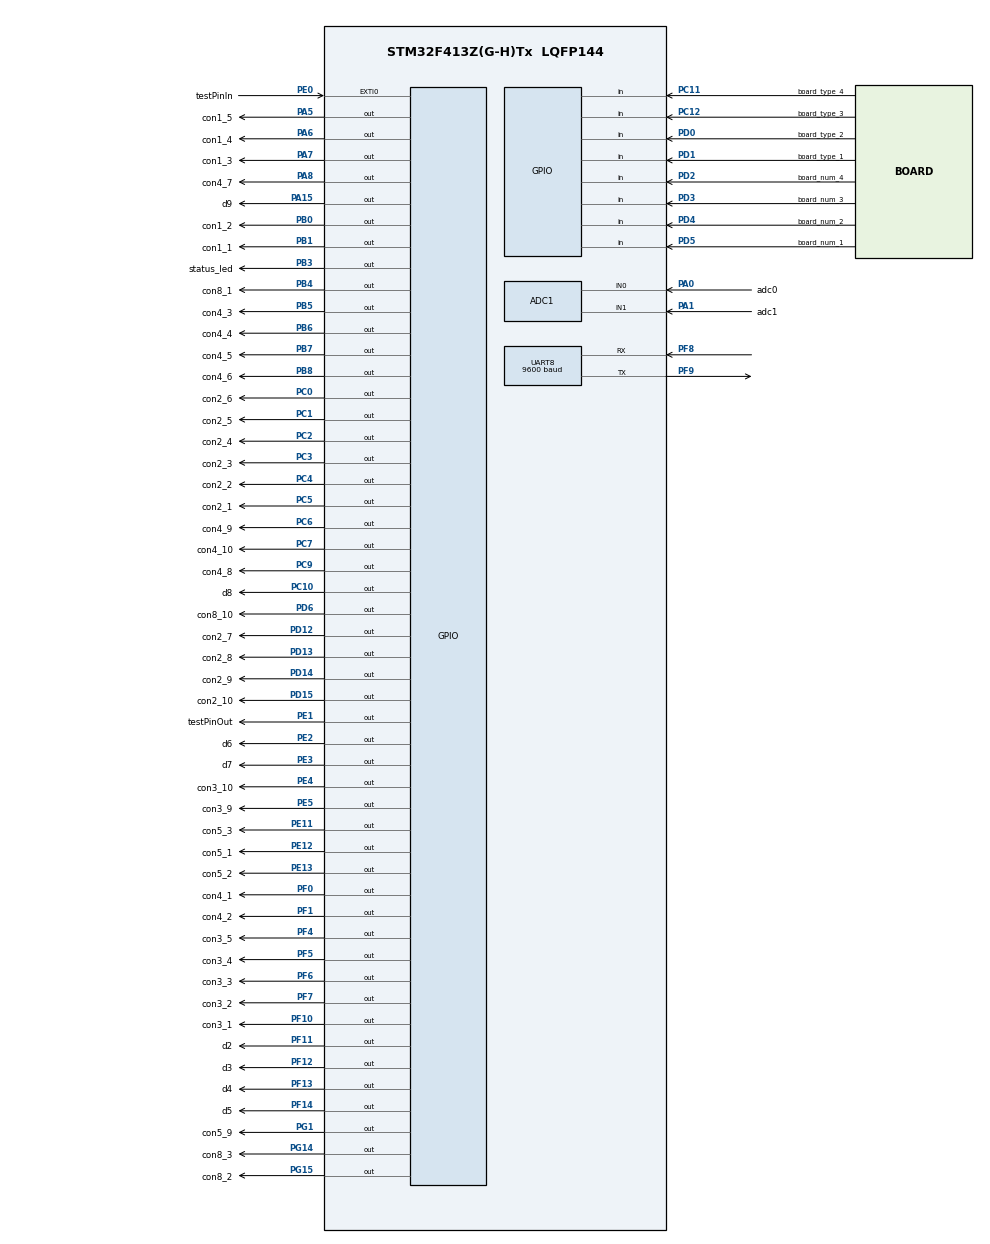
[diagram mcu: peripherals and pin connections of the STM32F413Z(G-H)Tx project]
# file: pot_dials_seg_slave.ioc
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ADC1.Channel-0\#ChannelRegularConversion=ADC_CHANNEL_0
ADC1.Channel-16\#ChannelRegularConversion=ADC_CHANNEL_1
ADC1.ClockPrescaler=ADC_CLOCK_SYNC_PCLK_DIV4
ADC1.ContinuousConvMode=ENABLE
ADC1.DMAContinuousRequests=ENABLE
ADC1.NbrOfConversion=2
ADC1.NbrOfConversionFlag=1
ADC1.Rank-0\#ChannelRegularConversion=1
ADC1.Rank-16\#ChannelRegularConversion=2
ADC1.SamplingTime-0\#ChannelRegularConversion=ADC_SAMPLETIME_480CYCLES
ADC1.SamplingTime-16\#ChannelRegularConversion=ADC_SAMPLETIME_480CYCLES
ADC1.master=1
Dma.ADC1.0.Direction=DMA_PERIPH_TO_MEMORY
Dma.ADC1.0.FIFOMode=DMA_FIFOMODE_DISABLE
Dma.ADC1.0.Instance=DMA2_Stream0
Dma.ADC1.0.MemDataAlignment=DMA_MDATAALIGN_HALFWORD
Dma.ADC1.0.MemInc=DMA_MINC_ENABLE
Dma.ADC1.0.Mode=DMA_CIRCULAR
Dma.ADC1.0.PeriphDataAlignment=DMA_PDATAALIGN_HALFWORD
Dma.ADC1.0.PeriphInc=DMA_PINC_DISABLE
Dma.ADC1.0.Priority=DMA_PRIORITY_LOW
Dma.Request0=ADC1
Mcu.Family=STM32F4
Mcu.Name=STM32F413Z(G-H)Tx
Mcu.Package=LQFP144
NVIC.DMA2_Stream0_IRQn=true\:0\:0\:false\:false\:true\:false\:true
NVIC.EXTI0_IRQn=true\:0\:0\:false\:false\:true\:true\:true
NVIC.PriorityGroup=NVIC_PRIORITYGROUP_4
NVIC.UART8_IRQn=true\:0\:0\:false\:false\:true\:true\:true
PA0.GPIO_Label=adc0
PA0.GPIO_Mode=GPIO_MODE_ANALOG
PA0.GPIO_PuPd=GPIO_NOPULL
PA0.Signal=ADCx_IN0
PA1.GPIO_Label=adc1
PA1.Signal=ADCx_IN1
PA13.Mode=Serial_Wire
PA13.Signal=SYS_JTMS-SWDIO
PA14.Mode=Serial_Wire
PA14.Signal=SYS_JTCK-SWCLK
PA15.GPIO_Label=d9
PA15.Signal=GPIO_Output
PA2.GPIO_Label=adc2
PA2.Signal=ADCx_IN2
PA3.GPIO_Label=adc3
PA3.Signal=ADCx_IN3
PA4.GPIO_Label=adc4
PA4.Signal=ADCx_IN4
PA5.GPIO_Label=con1_5
PA5.Signal=GPIO_Output
PA6.GPIO_Label=con1_4
PA6.Signal=GPIO_Output
PA7.GPIO_Label=con1_3
PA7.Signal=GPIO_Output
PA8.GPIO_Label=con4_7
PA8.Signal=GPIO_Output
PB0.GPIO_Label=con1_2
PB0.Signal=GPIO_Output
PB1.GPIO_Label=con1_1
PB1.Signal=GPIO_Output
PB3.GPIO_Label=status_led
PB3.Signal=GPIO_Output
PB4.GPIO_Label=con8_1
PB4.Signal=GPIO_Output
PB5.GPIO_Label=con4_3
PB5.Signal=GPIO_Output
PB6.GPIO_Label=con4_4
PB6.Signal=GPIO_Output
PB7.GPIO_Label=con4_5
PB7.Signal=GPIO_Output
PB8.GPIO_Label=con4_6
PB8.Signal=GPIO_Output
PC0.GPIO_Label=con2_6
PC0.GPIO_PuPd=GPIO_PULLUP
PC0.Signal=GPIO_Output
PC1.GPIO_Label=con2_5
PC1.GPIO_PuPd=GPIO_PULLUP
PC1.Signal=GPIO_Output
PC10.GPIO_Label=d8
PC10.Signal=GPIO_Output
PC11.GPIO_Label=board_type_4
PC11.Signal=GPIO_Input
PC12.GPIO_Label=board_type_3
PC12.Signal=GPIO_Input
PC14-OSC32_IN.Mode=LSE-External-Oscillator
PC14-OSC32_IN.Signal=RCC_OSC32_IN
PC15-OSC32_OUT.Mode=LSE-External-Oscillator
PC15-OSC32_OUT.Signal=RCC_OSC32_OUT
PC2.GPIO_Label=con2_4
PC2.GPIO_PuPd=GPIO_PULLUP
PC2.Signal=GPIO_Output
PC3.GPIO_Label=con2_3
PC3.GPIO_PuPd=GPIO_PULLUP
PC3.Signal=GPIO_Output
PC4.GPIO_Label=con2_2
PC4.GPIO_PuPd=GPIO_PULLUP
PC4.Signal=GPIO_Output
PC5.GPIO_Label=con2_1
PC5.GPIO_PuPd=GPIO_PULLUP
PC5.Signal=GPIO_Output
PC6.GPIO_Label=con4_9
PC6.Signal=GPIO_Output
PC7.GPIO_Label=con4_10
PC7.Signal=GPIO_Output
PC9.GPIO_Label=con4_8
PC9.Signal=GPIO_Output
PD0.GPIO_Label=board_type_2
PD0.Signal=GPIO_Input
PD1.GPIO_Label=board_type_1
PD1.Signal=GPIO_Input
PD12.GPIO_Label=con2_7
PD12.GPIO_PuPd=GPIO_PULLUP
PD12.Signal=GPIO_Output
PD13.GPIO_Label=con2_8
PD13.GPIO_PuPd=GPIO_PULLUP
PD13.GPIO_Speed=GPIO_SPEED_FREQ_LOW
PD13.Signal=GPIO_Output
PD14.GPIO_Label=con2_9
PD14.Signal=GPIO_Output
PD15.GPIO_Label=con2_10
PD15.Signal=GPIO_Output
PD2.GPIO_Label=board_num_4
PD2.Signal=GPIO_Input
PD3.GPIO_Label=board_num_3
PD3.Signal=GPIO_Input
PD4.GPIO_Label=board_num_2
PD4.Signal=GPIO_Input
PD5.GPIO_Label=board_num_1
PD5.Signal=GPIO_Input
PD6.GPIO_Label=con8_10
PD6.Signal=GPIO_Output
PE0.GPIO_Label=testPinIn
PE0.Signal=GPXTI0
PE1.GPIO_Label=testPinOut
PE1.Signal=GPIO_Output
PE11.GPIO_Label=con5_3
PE11.Signal=GPIO_Output
PE12.GPIO_Label=con5_1
PE12.Signal=GPIO_Output
PE13.GPIO_Label=con5_2
PE13.PinState=GPIO_PIN_RESET
PE13.Signal=GPIO_Output
PE2.GPIO_Label=d6
PE2.Signal=GPIO_Output
PE3.GPIO_Label=d7
PE3.Signal=GPIO_Output
PE4.GPIO_Label=con3_10
PE4.Signal=GPIO_Output
PE5.GPIO_Label=con3_9
PE5.Signal=GPIO_Output
PF0.GPIO_Label=con4_1
PF0.Signal=GPIO_Output
PF1.GPIO_Label=con4_2
PF1.Signal=GPIO_Output
PF10.GPIO_Label=con3_1
PF10.Signal=GPIO_Output
PF11.GPIO_Label=d2
PF11.Signal=GPIO_Output
PF12.GPIO_Label=d3
PF12.Signal=GPIO_Output
PF13.GPIO_Label=d4
PF13.Signal=GPIO_Output
PF14.GPIO_Label=d5
PF14.Signal=GPIO_Output
PF4.GPIO_Label=con3_5
PF4.Signal=GPIO_Output
PF5.GPIO_Label=con3_4
PF5.Signal=GPIO_Output
PF6.GPIO_Label=con3_3
PF6.Signal=GPIO_Output
PF7.GPIO_Label=con3_2
PF7.Signal=GPIO_Output
PF8.Mode=Asynchronous
PF8.Signal=UART8_RX
PF9.Mode=Asynchronous
PF9.Signal=UART8_TX
PG1.GPIO_Label=con5_9
PG1.Signal=GPIO_Output
PG14.GPIO_Label=con8_3
PG14.Signal=GPIO_Output
PG15.GPIO_Label=con8_2
PG15.Signal=GPIO_Output
ProjectManager.HeapSize=0x200
ProjectManager.StackSize=0x400
ProjectManager.TargetToolchain=STM32CubeIDE
RCC.CortexFreq_Value=16000000
RCC.USBFreq_Value=96000000
RCC.VCOOutputFreq_Value=192000000
SH.ADCx_IN0.0=ADC1_IN0,IN0
SH.ADCx_IN1.0=ADC1_IN1,IN1
SH.ADCx_IN2.0=ADC1_IN2
SH.ADCx_IN3.0=ADC1_IN3
SH.ADCx_IN4.0=ADC1_IN4
UART8.BaudRate=9600
UART8.VirtualMode=Asynchronous
board=custom

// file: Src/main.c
/* USER CODE BEGIN Header */

/*
 * OTHER SLAVE:
 *  - POTENTIOMETERS
 *  - DIALS
 *  - SEVEN SEGS
 */

/* USER CODE END Header */

#include "main.h"

/* USER CODE BEGIN Includes */

#include <stdlib.h>
#include <stdio.h>
#include <string.h>

#include "PIN_DEFS.h"
#include "STRUCTS.h"

/* USER CODE END Includes */

/* USER CODE BEGIN PD */

//Timing magic numbers
#define MAX_TICKER_VALUE 	4294967295
#define LED_SCALER 			10000

//Stepper motor step size
#define MAX_NUM_STEPS 		600

//Stepper motor directions
#define ANTICLOCKWISE 		0
#define CLOCKWISE 			1

// ADC buffer
#define ADC_BUFF_SIZE 		10

/* USER CODE END PD */

ADC_HandleTypeDef hadc1;
DMA_HandleTypeDef hdma_adc1;

UART_HandleTypeDef huart8;

void SystemClock_Config(void);
static void MX_GPIO_Init(void);
static void MX_DMA_Init(void);
static void MX_ADC1_Init(void);
static void MX_UART8_Init(void);

/* USER CODE BEGIN 0 */

// Received data from UART
union data_in recieved_data;

// Compiling data from dip switches
// into the data to send out
union board_info_data board_data;

// Data to send out on UART
data_packet info_out;

// Timing variables
uint8_t TEST_MODE = 0;
uint32_t ticker = 0;

// Dial 1 variables
uint32_t desiredDialState1 = 0;
uint32_t currentDialState1 = 0;
uint32_t tempDialState1 = 0;

// Dial 2 variables
uint32_t desiredDialState2 = 0;
uint32_t currentDialState2 = 0;

// Pot variables
uint32_t pot1Sum = 0;
uint8_t pot1BufferIndex = 0;
uint8_t pot1Buffer[ADC_BUFF_SIZE] = {0};
uint8_t pot1State = 0;

uint32_t pot2Sum = 0;
uint8_t pot2BufferIndex = 0;
uint8_t pot2Buffer[ADC_BUFF_SIZE] = {0};
uint8_t pot2State = 0;

// 7 Seg 1 variables
uint8_t desiredDispValue1 = 0;
uint8_t currentDispValue1 = 0;
uint8_t desiredDispValueDigits1[4] = {0};
uint8_t dispIndex1 = 0;
uint8_t tempDigits1[4] = {0};

// 7 Seg 2 variables
uint8_t desiredDispValue2 = 0;
uint32_t currentDispValue2 = 0;
uint8_t desiredDispValueDigits2[4] = {0};
uint8_t dispIndex2 = 0;
uint8_t tempDigits2[4] = {0};

// Latency testing
uint32_t start_time = 0;
uint32_t end_time = 0;
uint32_t total_time[30] = {0};
uint8_t timerIndex = 0;

// UART RX interrupt to update states
void HAL_UART_RxCpltCallback(UART_HandleTypeDef *huart)
{
	if(huart->Instance==UART8) {
		if (TEST_MODE)
		{
			HAL_GPIO_WritePin(GPIOE, testPinOut_Pin, GPIO_PIN_SET);
			end_time = HAL_GetTick();
			total_time[timerIndex] = end_time - start_time;
			timerIndex++;
			end_time = 0;
			start_time = 0;
			TEST_MODE = 0;
		}

		if (recieved_data.info_in.board_add == Display1HWAdd)
			desiredDispValue1 = recieved_data.info_in.state;

		if (recieved_data.info_in.board_add == Display2HWAdd)
			desiredDispValue2 = recieved_data.info_in.state;

		if (recieved_data.info_in.board_add == Dial1HWAdd)
			desiredDialState1 = 5.3 * recieved_data.info_in.state;

		if (recieved_data.info_in.board_add == Dial2HWAdd)
			desiredDialState2 = 5.3 * recieved_data.info_in.state;
	}

	else {
		__NOP();
	}
}
/* USER CODE END 0 */

int main(void)
{

  /* MCU Configuration--------------------------------------------------------*/

  /* Reset of all peripherals, Initializes the Flash interface and the Systick. */
  HAL_Init();

  /* Configure the system clock */
  SystemClock_Config();

  /* Initialize all configured peripherals */
  MX_GPIO_Init();
  MX_DMA_Init();
  MX_ADC1_Init();
  MX_UART8_Init();
  /* USER CODE BEGIN 2 */

  // DMA buffer
  HAL_ADC_Start_DMA(&hadc1, (uint32_t*)adcBuffer, 2);

  //con3: 3 - 3v3; 4 - dir; 5 - step

  // Set stepper motor power high
  HAL_GPIO_WritePin(GPIOF, con3_3_Pin, GPIO_PIN_SET);
  HAL_GPIO_WritePin(GPIOA, con1_3_Pin, GPIO_PIN_SET);

  // Calibrate the stepper motors
  for (int i = 0; i < MAX_NUM_STEPS; i++)
  {
		HAL_GPIO_WritePin(GPIOF, con3_4_Pin, ANTICLOCKWISE);
		HAL_GPIO_WritePin(GPIOA, con1_4_Pin, ANTICLOCKWISE);

		HAL_GPIO_WritePin(GPIOF, con3_5_Pin, GPIO_PIN_RESET);
		HAL_GPIO_WritePin(GPIOA, con1_5_Pin, GPIO_PIN_RESET);
		HAL_Delay(1);
		HAL_GPIO_WritePin(GPIOF, con3_5_Pin, GPIO_PIN_SET);
		HAL_GPIO_WritePin(GPIOA, con1_5_Pin, GPIO_PIN_SET);
		HAL_Delay(1);
  }

  for (int i = 0; i < 123; i++)
  {
		HAL_GPIO_WritePin(GPIOF, con3_4_Pin, CLOCKWISE);
		HAL_GPIO_WritePin(GPIOA, con1_4_Pin, CLOCKWISE);

		HAL_GPIO_WritePin(GPIOF, con3_5_Pin, GPIO_PIN_RESET);
		HAL_GPIO_WritePin(GPIOA, con1_5_Pin, GPIO_PIN_RESET);
		HAL_Delay(1);
		HAL_GPIO_WritePin(GPIOF, con3_5_Pin, GPIO_PIN_SET);
		HAL_GPIO_WritePin(GPIOA, con1_5_Pin, GPIO_PIN_SET);
		HAL_Delay(1);
  }

  currentDialState1 = 0;
  currentDialState2 = 0;

  // Pot  1buffer
  for (; pot1BufferIndex < ADC_BUFF_SIZE; pot1BufferIndex++)
  {
	  currentPotState = ((float) adcBuffer[0] / 4095) * 100;
	  pot1Buffer[pot1BufferIndex] = currentPotState;
	  pot1Sum += currentPotState;
  }
  pot1State = pot1Sum / ADC_BUFF_SIZE;

  // Pot 2 buffer
  for (; pot2BufferIndex < ADC_BUFF_SIZE; pot2BufferIndex++)
  {
	  currentPotState = ((float) adcBuffer[1] / 4095) * 100;
  	  pot2Buffer[pot2BufferIndex] = currentPotState;
  	  pot2Sum += currentPotState;
  }
  pot2State = pot2Sum / ADC_BUFF_SIZE;

  /* USER CODE END 2 */

  /* Infinite loop */
  /* USER CODE BEGIN WHILE */
  while (1)
  {

	  	  // TX UART interrupt to update the displays and dials
	  	  HAL_UART_Receive_IT(&huart8, recieved_data.info_in_buffer, 3);

	  	  // Assign the board information to the packet
	  	  board_data.board_info_raw.board_type_1 = HAL_GPIO_ReadPin(GPIOD, board_type_1_Pin) ? 0b1 : 0b0;
	  	  board_data.board_info_raw.board_type_2 = HAL_GPIO_ReadPin(GPIOD, board_type_2_Pin) ? 0b1 : 0b0;
	  	  board_data.board_info_raw.board_type_3 = HAL_GPIO_ReadPin(GPIOC, board_type_3_Pin) ? 0b1 : 0b0;
	  	  board_data.board_info_raw.board_type_4 = HAL_GPIO_ReadPin(GPIOC, board_type_4_Pin) ? 0b1 : 0b0;

	  	  board_data.board_info_raw.board_num_1 = HAL_GPIO_ReadPin(GPIOD, board_num_1_Pin) ? 0b1 : 0b0;
	  	  board_data.board_info_raw.board_num_2 = HAL_GPIO_ReadPin(GPIOD, board_num_2_Pin) ? 0b1 : 0b0;
	  	  board_data.board_info_raw.board_num_3 = HAL_GPIO_ReadPin(GPIOD, board_num_3_Pin) ? 0b1 : 0b0;
	  	  board_data.board_info_raw.board_num_4 = HAL_GPIO_ReadPin(GPIOD, board_num_4_Pin) ? 0b1 : 0b0;

	  	  info_out.board_info = board_data.board_info_char;

	  	  //Status LED
	  	  ticker++;
	  	  if (ticker % LED_SCALER == 0) HAL_GPIO_TogglePin(status_led_GPIO_Port, status_led_Pin);
	  	  if (ticker == MAX_TICKER_VALUE) ticker = 0;

	  	  //Dip switches linked to LEDs
	  	  //Board type
	  	  HAL_GPIO_ReadPin(GPIOD, board_type_1_Pin) ? HAL_GPIO_WritePin(GPIOE, d6_Pin, GPIO_PIN_SET) :
	  			  	  HAL_GPIO_WritePin(GPIOE, d6_Pin, GPIO_PIN_RESET);

	  	  HAL_GPIO_ReadPin(GPIOD, board_type_2_Pin) ? HAL_GPIO_WritePin(GPIOE, d7_Pin, GPIO_PIN_SET) :
	  		  	  HAL_GPIO_WritePin(GPIOE, d7_Pin, GPIO_PIN_RESET);

	  	  HAL_GPIO_ReadPin(GPIOC, board_type_3_Pin) ? HAL_GPIO_WritePin(GPIOA, d8_Pin, GPIO_PIN_SET) :
	  		  	  HAL_GPIO_WritePin(GPIOA, d8_Pin, GPIO_PIN_RESET);

	  	  HAL_GPIO_ReadPin(GPIOC, board_type_4_Pin) ? HAL_GPIO_WritePin(GPIOC, d9_Pin, GPIO_PIN_SET) :
	  		  	  HAL_GPIO_WritePin(GPIOC, d9_Pin, GPIO_PIN_RESET);

	  	  //Board number
	  	  HAL_GPIO_ReadPin(GPIOD, board_num_1_Pin) ? HAL_GPIO_WritePin(GPIOF, d5_Pin, GPIO_PIN_SET) :
	  		  	  HAL_GPIO_WritePin(GPIOF, d5_Pin, GPIO_PIN_RESET);

	  	  HAL_GPIO_ReadPin(GPIOD, board_num_2_Pin) ? HAL_GPIO_WritePin(GPIOF, d4_Pin, GPIO_PIN_SET) :
	  		  	  HAL_GPIO_WritePin(GPIOF, d4_Pin, GPIO_PIN_RESET);

	  	  HAL_GPIO_ReadPin(GPIOD, board_num_3_Pin) ? HAL_GPIO_WritePin(GPIOF, d3_Pin, GPIO_PIN_SET) :
	  		  	  HAL_GPIO_WritePin(GPIOF, d3_Pin, GPIO_PIN_RESET);

	  	  HAL_GPIO_ReadPin(GPIOD, board_num_4_Pin) ? HAL_GPIO_WritePin(GPIOF, d2_Pin, GPIO_PIN_SET) :
	  	  		  HAL_GPIO_WritePin(GPIOF, d2_Pin, GPIO_PIN_RESET);

	  	// ADC reading of both POTs - reads one per loop
		currentPotState = ((float) adcBuffer[adcIndex] / 4095) * 100;

		if (adcIndex == 0 && ((currentPotState >= prevPotState[adcIndex] + 5) || (currentPotState <= prevPotState[adcIndex] - 5)))
		{
			// Moving average
			pot1Sum -= pot1Buffer[pot1BufferIndex];
			pot1Buffer[pot1BufferIndex] = currentPotState;
			pot1Sum += currentPotState;
			pot1State = pot1Sum / ADC_BUFF_SIZE;

			if (pot1BufferIndex++ > (ADC_BUFF_SIZE - 1)) pot1BufferIndex = 0;

			// Sending packet
			info_out.board_add  =  Pot1HWAdd;
			info_out.state  = pot1State;
			HAL_UART_Transmit(&huart8,&info_out,sizeof(info_out),10);
			prevPotState[adcIndex] = pot1State;

		}

		if (adcIndex == 1 && ((currentPotState >= prevPotState[adcIndex] + 5) || (currentPotState <= prevPotState[adcIndex] - 5)))
		{
			// Moving average
			pot2Sum -= pot2Buffer[pot2BufferIndex];
			pot2Buffer[pot2BufferIndex] = currentPotState;
			pot2Sum += currentPotState;
			pot2State = pot2Sum / ADC_BUFF_SIZE;

			if (pot2BufferIndex++ > (ADC_BUFF_SIZE - 1)) pot2BufferIndex = 0;

			// Sending packet
			info_out.board_add  =  Pot2HWAdd;
			info_out.state  = pot2State;
			HAL_UART_Transmit(&huart8,&info_out,sizeof(info_out),10);
			prevPotState[adcIndex] = pot2State;
		}

		if (adcIndex++ > 1) adcIndex = 0;

	  	// Stepper motor driving 1
	  	if (abs(desiredDialState1 - currentDialState1) != 0)
	  	{
	  		if ((currentDialState1 > desiredDialState1) && currentDialState1 != 0)
			{
	  			currentDialState1--;
				HAL_GPIO_WritePin(GPIOF, con3_4_Pin, ANTICLOCKWISE);
			}
			else if ((currentDialState1 < desiredDialState1) && currentDialState1 != 600)
			{
				currentDialState1++;
				HAL_GPIO_WritePin(GPIOF, con3_4_Pin, CLOCKWISE);
			}

	  		HAL_GPIO_WritePin(GPIOF, con3_5_Pin, GPIO_PIN_RESET);
	  		HAL_Delay(1);
	  		HAL_GPIO_WritePin(GPIOF, con3_5_Pin, GPIO_PIN_SET);
	  		HAL_Delay(1);
	  	}

	  	// Stepper motor driving 2 - need to change the pins
	  	if (abs(desiredDialState2 - currentDialState2) != 0)
	  	{
	  		if ((currentDialState2 > desiredDialState2) && currentDialState2 != 0)
			{
	  			currentDialState2--;
				HAL_GPIO_WritePin(GPIOA, con1_4_Pin, ANTICLOCKWISE);
			}
			else if ((currentDialState2 < desiredDialState2) && currentDialState2 != 530)
			{
				currentDialState2++;
				HAL_GPIO_WritePin(GPIOA, con1_4_Pin, CLOCKWISE);
			}

	  		HAL_GPIO_WritePin(GPIOA, con1_5_Pin, GPIO_PIN_RESET);
	  		HAL_Delay(1);
	  		HAL_GPIO_WritePin(GPIOA, con1_5_Pin, GPIO_PIN_SET);
	  		HAL_Delay(1);
	  	}

	  	// 7 Seg #1
		if (desiredDispValue1 != currentDispValue1)
		{
			currentDispValue1 = desiredDispValue1;
			memcpy(&desiredDispValueDigits1, 0x00, sizeof(tempDigits1));
			for (int i = 0; desiredDispValue1 > 0; i++)
			{
				 desiredDispValueDigits1[i] = desiredDispValue1 % 10;
				 desiredDispValue1 -= desiredDispValueDigits1[i];
				 desiredDispValue1 /= 10;
			}
			desiredDispValue1 = currentDispValue1;
		}

		// Clear the display
		HAL_GPIO_WritePin(GPIOF, con4_1_Pin, GPIO_PIN_SET); 	// A
		HAL_GPIO_WritePin(GPIOF, con4_2_Pin, GPIO_PIN_SET); 	// B
		HAL_GPIO_WritePin(GPIOB, con4_3_Pin, GPIO_PIN_SET); 	// C
		HAL_GPIO_WritePin(GPIOB, con4_4_Pin, GPIO_PIN_SET); 	// D
		HAL_GPIO_WritePin(GPIOB, con4_5_Pin, GPIO_PIN_SET); 	// E
		HAL_GPIO_WritePin(GPIOB, con4_6_Pin, GPIO_PIN_SET); 	// F
		HAL_GPIO_WritePin(GPIOA, con4_7_Pin, GPIO_PIN_SET); 	// G
		HAL_GPIO_WritePin(GPIOC, con4_8_Pin, GPIO_PIN_SET); 	// DP

		HAL_GPIO_WritePin(GPIOC, con4_9_Pin, GPIO_PIN_RESET); 	// Dig 1
		HAL_GPIO_WritePin(GPIOC, con4_10_Pin, GPIO_PIN_RESET); 	// Dig 2
		HAL_GPIO_WritePin(GPIOE, con3_9_Pin, GPIO_PIN_RESET); 	// Dig 3
		HAL_GPIO_WritePin(GPIOE, con3_10_Pin, GPIO_PIN_RESET); 	// Dig 4

		// Select digit
		switch(dispIndex1)
		{
			// Dig 1
			case 0:
				HAL_GPIO_WritePin(GPIOE, con3_10_Pin, GPIO_PIN_SET); 	// Dig 4
				break;

			// Dig 2
			case 1:
				HAL_GPIO_WritePin(GPIOE, con3_9_Pin, GPIO_PIN_SET); 	// Dig 3
				break;

			// Dig 3
			case 2:
				HAL_GPIO_WritePin(GPIOC, con4_10_Pin, GPIO_PIN_SET); 	// Dig 2
				break;

			// Dig 4
			case 3:
				HAL_GPIO_WritePin(GPIOC, con4_9_Pin, GPIO_PIN_SET); 	// Dig 1
				break;

		}

		// Update the digit
		switch(desiredDispValueDigits1[dispIndex1])
		{
			case 0:
				HAL_GPIO_WritePin(GPIOF, con4_1_Pin, GPIO_PIN_RESET); 	// A
				HAL_GPIO_WritePin(GPIOF, con4_2_Pin, GPIO_PIN_RESET); 	// B
				HAL_GPIO_WritePin(GPIOB, con4_3_Pin, GPIO_PIN_RESET); 	// C
				HAL_GPIO_WritePin(GPIOB, con4_4_Pin, GPIO_PIN_RESET); 	// D
				HAL_GPIO_WritePin(GPIOB, con4_5_Pin, GPIO_PIN_RESET); 	// E
				HAL_GPIO_WritePin(GPIOB, con4_6_Pin, GPIO_PIN_RESET); 	// F
				break;

			case 1:
				HAL_GPIO_WritePin(GPIOF, con4_2_Pin, GPIO_PIN_RESET); 	// B
				HAL_GPIO_WritePin(GPIOB, con4_3_Pin, GPIO_PIN_RESET); 	// C
				break;

			case 2:
				HAL_GPIO_WritePin(GPIOF, con4_1_Pin, GPIO_PIN_RESET); 	// A
				HAL_GPIO_WritePin(GPIOF, con4_2_Pin, GPIO_PIN_RESET); 	// B
				HAL_GPIO_WritePin(GPIOB, con4_4_Pin, GPIO_PIN_RESET); 	// D
				HAL_GPIO_WritePin(GPIOB, con4_5_Pin, GPIO_PIN_RESET); 	// E
				HAL_GPIO_WritePin(GPIOA, con4_7_Pin, GPIO_PIN_RESET); 	// G
				break;

			case 3:
				HAL_GPIO_WritePin(GPIOF, con4_1_Pin, GPIO_PIN_RESET); 	// A
				HAL_GPIO_WritePin(GPIOF, con4_2_Pin, GPIO_PIN_RESET); 	// B
				HAL_GPIO_WritePin(GPIOB, con4_3_Pin, GPIO_PIN_RESET); 	// C
				HAL_GPIO_WritePin(GPIOB, con4_4_Pin, GPIO_PIN_RESET); 	// D
				HAL_GPIO_WritePin(GPIOA, con4_7_Pin, GPIO_PIN_RESET); 	// G
				break;

			case 4:
				HAL_GPIO_WritePin(GPIOF, con4_2_Pin, GPIO_PIN_RESET); 	// B
				HAL_GPIO_WritePin(GPIOB, con4_3_Pin, GPIO_PIN_RESET); 	// C
				HAL_GPIO_WritePin(GPIOB, con4_6_Pin, GPIO_PIN_RESET); 	// F
				HAL_GPIO_WritePin(GPIOA, con4_7_Pin, GPIO_PIN_RESET); 	// G
				break;

			case 5:
				HAL_GPIO_WritePin(GPIOF, con4_1_Pin, GPIO_PIN_RESET); 	// A
				HAL_GPIO_WritePin(GPIOB, con4_3_Pin, GPIO_PIN_RESET); 	// C
				HAL_GPIO_WritePin(GPIOB, con4_4_Pin, GPIO_PIN_RESET); 	// D
				HAL_GPIO_WritePin(GPIOB, con4_6_Pin, GPIO_PIN_RESET); 	// F
				HAL_GPIO_WritePin(GPIOA, con4_7_Pin, GPIO_PIN_RESET); 	// G
				break;

			case 6:
				HAL_GPIO_WritePin(GPIOF, con4_1_Pin, GPIO_PIN_RESET); 	// A
				HAL_GPIO_WritePin(GPIOB, con4_3_Pin, GPIO_PIN_RESET); 	// C
				HAL_GPIO_WritePin(GPIOB, con4_4_Pin, GPIO_PIN_RESET); 	// D
				HAL_GPIO_WritePin(GPIOB, con4_5_Pin, GPIO_PIN_RESET); 	// E
				HAL_GPIO_WritePin(GPIOB, con4_6_Pin, GPIO_PIN_RESET); 	// F
				HAL_GPIO_WritePin(GPIOA, con4_7_Pin, GPIO_PIN_RESET);	// G
				break;

			case 7:
				HAL_GPIO_WritePin(GPIOF, con4_1_Pin, GPIO_PIN_RESET); 	// A
				HAL_GPIO_WritePin(GPIOF, con4_2_Pin, GPIO_PIN_RESET); 	// B
				HAL_GPIO_WritePin(GPIOB, con4_3_Pin, GPIO_PIN_RESET); 	// C
				break;

			case 8:
				HAL_GPIO_WritePin(GPIOF, con4_1_Pin, GPIO_PIN_RESET); 	// A
				HAL_GPIO_WritePin(GPIOF, con4_2_Pin, GPIO_PIN_RESET); 	// B
				HAL_GPIO_WritePin(GPIOB, con4_3_Pin, GPIO_PIN_RESET); 	// C
				HAL_GPIO_WritePin(GPIOB, con4_4_Pin, GPIO_PIN_RESET); 	// D
				HAL_GPIO_WritePin(GPIOB, con4_5_Pin, GPIO_PIN_RESET); 	// E
				HAL_GPIO_WritePin(GPIOB, con4_6_Pin, GPIO_PIN_RESET); 	// F
				HAL_GPIO_WritePin(GPIOA, con4_7_Pin, GPIO_PIN_RESET); 	// G
				break;

			case 9:
				HAL_GPIO_WritePin(GPIOF, con4_1_Pin, GPIO_PIN_RESET); 	// A
				HAL_GPIO_WritePin(GPIOF, con4_2_Pin, GPIO_PIN_RESET); 	// B
				HAL_GPIO_WritePin(GPIOB, con4_3_Pin, GPIO_PIN_RESET); 	// C
				HAL_GPIO_WritePin(GPIOB, con4_6_Pin, GPIO_PIN_RESET); 	// F
				HAL_GPIO_WritePin(GPIOA, con4_7_Pin, GPIO_PIN_RESET); 	// G
				break;

		}

		// Update the index
		dispIndex1++;
		if (dispIndex1 > 3) dispIndex1 = 0;

		// 7 Seg #2
		if (desiredDispValue2 != currentDispValue2)
		{
			memcpy(&desiredDispValueDigits2, 0x00, sizeof(tempDigits2));
			currentDispValue2 = desiredDispValue2;
			for (int i = 0; desiredDispValue2 > 0; i++)
			{
				desiredDispValueDigits2[i] = desiredDispValue2 % 10;
				 desiredDispValue2 -= desiredDispValueDigits2[i];
				 desiredDispValue2 /= 10;
			}

			desiredDispValue2 = currentDispValue2;
		}

		// Clear the display
		HAL_GPIO_WritePin(GPIOC, con2_1_Pin, GPIO_PIN_SET); 	// A
		HAL_GPIO_WritePin(GPIOC, con2_2_Pin, GPIO_PIN_SET); 	// B
		HAL_GPIO_WritePin(GPIOC, con2_3_Pin, GPIO_PIN_SET); 	// C
		HAL_GPIO_WritePin(GPIOC, con2_4_Pin, GPIO_PIN_SET); 	// D
		HAL_GPIO_WritePin(GPIOC, con2_5_Pin, GPIO_PIN_SET); 	// E
		HAL_GPIO_WritePin(GPIOC, con2_6_Pin, GPIO_PIN_SET); 	// F
		HAL_GPIO_WritePin(GPIOD, con2_7_Pin, GPIO_PIN_SET); 	// G
		HAL_GPIO_WritePin(GPIOD, con2_8_Pin, GPIO_PIN_SET); 	// DP

		HAL_GPIO_WritePin(GPIOD, con2_9_Pin, GPIO_PIN_RESET); 	// Dig 1
		HAL_GPIO_WritePin(GPIOD, con2_10_Pin, GPIO_PIN_RESET); 	// Dig 2
		HAL_GPIO_WritePin(GPIOF, con3_1_Pin, GPIO_PIN_RESET); 	// Dig 3
		HAL_GPIO_WritePin(GPIOF, con3_2_Pin, GPIO_PIN_RESET); 	// Dig 4

		// Select digit
		switch(dispIndex2)
		{
			// Dig 1
			case 0:
				HAL_GPIO_WritePin(GPIOF, con3_2_Pin, GPIO_PIN_SET); 	// Dig 4
				break;

			// Dig 2
			case 1:
				HAL_GPIO_WritePin(GPIOF, con3_1_Pin, GPIO_PIN_SET); 	// Dig 3
				break;

			// Dig 3
			case 2:
				HAL_GPIO_WritePin(GPIOD, con2_10_Pin, GPIO_PIN_SET); 	// Dig 2
				break;

			// Dig 4
			case 3:
				HAL_GPIO_WritePin(GPIOD, con2_9_Pin, GPIO_PIN_SET); 	// Dig 1
				break;
		}

		// Update the digit
		switch(desiredDispValueDigits2[dispIndex2])
		{
			case 0:
				HAL_GPIO_WritePin(GPIOC, con2_1_Pin, GPIO_PIN_RESET); 	// A
				HAL_GPIO_WritePin(GPIOC, con2_2_Pin, GPIO_PIN_RESET); 	// B
				HAL_GPIO_WritePin(GPIOC, con2_3_Pin, GPIO_PIN_RESET); 	// C
				HAL_GPIO_WritePin(GPIOC, con2_4_Pin, GPIO_PIN_RESET); 	// D
				HAL_GPIO_WritePin(GPIOC, con2_5_Pin, GPIO_PIN_RESET); 	// E
				HAL_GPIO_WritePin(GPIOC, con2_6_Pin, GPIO_PIN_RESET); 	// F
				break;

			case 1:
				HAL_GPIO_WritePin(GPIOC, con2_2_Pin, GPIO_PIN_RESET); 	// B
				HAL_GPIO_WritePin(GPIOC, con2_3_Pin, GPIO_PIN_RESET); 	// C
				break;

			case 2:
				HAL_GPIO_WritePin(GPIOC, con2_1_Pin, GPIO_PIN_RESET); 	// A
				HAL_GPIO_WritePin(GPIOC, con2_2_Pin, GPIO_PIN_RESET); 	// B
				HAL_GPIO_WritePin(GPIOC, con2_4_Pin, GPIO_PIN_RESET); 	// D
				HAL_GPIO_WritePin(GPIOC, con2_5_Pin, GPIO_PIN_RESET); 	// E
				HAL_GPIO_WritePin(GPIOD, con2_7_Pin, GPIO_PIN_RESET); 	// G
				break;

			case 3:
				HAL_GPIO_WritePin(GPIOC, con2_1_Pin, GPIO_PIN_RESET); 	// A
				HAL_GPIO_WritePin(GPIOC, con2_2_Pin, GPIO_PIN_RESET); 	// B
				HAL_GPIO_WritePin(GPIOC, con2_3_Pin, GPIO_PIN_RESET); 	// C
				HAL_GPIO_WritePin(GPIOC, con2_4_Pin, GPIO_PIN_RESET); 	// D
				HAL_GPIO_WritePin(GPIOD, con2_7_Pin, GPIO_PIN_RESET); 	// G
				break;

			case 4:
				HAL_GPIO_WritePin(GPIOC, con2_2_Pin, GPIO_PIN_RESET); 	// B
				HAL_GPIO_WritePin(GPIOC, con2_3_Pin, GPIO_PIN_RESET); 	// C
				HAL_GPIO_WritePin(GPIOC, con2_6_Pin, GPIO_PIN_RESET); 	// F
				HAL_GPIO_WritePin(GPIOD, con2_7_Pin, GPIO_PIN_RESET); 	// G
				break;

			case 5:
				HAL_GPIO_WritePin(GPIOC, con2_1_Pin, GPIO_PIN_RESET); 	// A
				HAL_GPIO_WritePin(GPIOC, con2_3_Pin, GPIO_PIN_RESET); 	// C
				HAL_GPIO_WritePin(GPIOC, con2_4_Pin, GPIO_PIN_RESET); 	// D
				HAL_GPIO_WritePin(GPIOC, con2_6_Pin, GPIO_PIN_RESET); 	// F
				HAL_GPIO_WritePin(GPIOD, con2_7_Pin, GPIO_PIN_RESET); 	// G
				break;

			case 6:
				HAL_GPIO_WritePin(GPIOC, con2_1_Pin, GPIO_PIN_RESET); 	// A
				HAL_GPIO_WritePin(GPIOC, con2_3_Pin, GPIO_PIN_RESET); 	// C
				HAL_GPIO_WritePin(GPIOC, con2_4_Pin, GPIO_PIN_RESET); 	// D
				HAL_GPIO_WritePin(GPIOC, con2_5_Pin, GPIO_PIN_RESET); 	// E
				HAL_GPIO_WritePin(GPIOC, con2_6_Pin, GPIO_PIN_RESET); 	// F
				HAL_GPIO_WritePin(GPIOD, con2_7_Pin, GPIO_PIN_RESET);	// G
				break;

			case 7:
				HAL_GPIO_WritePin(GPIOC, con2_1_Pin, GPIO_PIN_RESET); 	// A
				HAL_GPIO_WritePin(GPIOC, con2_2_Pin, GPIO_PIN_RESET); 	// B
				HAL_GPIO_WritePin(GPIOC, con2_3_Pin, GPIO_PIN_RESET); 	// C
				break;

			case 8:
				HAL_GPIO_WritePin(GPIOC, con2_1_Pin, GPIO_PIN_RESET); 	// A
				HAL_GPIO_WritePin(GPIOC, con2_2_Pin, GPIO_PIN_RESET); 	// B
				HAL_GPIO_WritePin(GPIOC, con2_3_Pin, GPIO_PIN_RESET); 	// C
				HAL_GPIO_WritePin(GPIOC, con2_4_Pin, GPIO_PIN_RESET); 	// D
				HAL_GPIO_WritePin(GPIOC, con2_5_Pin, GPIO_PIN_RESET); 	// E
				HAL_GPIO_WritePin(GPIOC, con2_6_Pin, GPIO_PIN_RESET); 	// F
				HAL_GPIO_WritePin(GPIOD, con2_7_Pin, GPIO_PIN_RESET); 	// G
				break;

			case 9:
				HAL_GPIO_WritePin(GPIOC, con2_1_Pin, GPIO_PIN_RESET); 	// A
				HAL_GPIO_WritePin(GPIOC, con2_2_Pin, GPIO_PIN_RESET); 	// B
				HAL_GPIO_WritePin(GPIOC, con2_3_Pin, GPIO_PIN_RESET); 	// C
				HAL_GPIO_WritePin(GPIOC, con2_6_Pin, GPIO_PIN_RESET); 	// F
				HAL_GPIO_WritePin(GPIOD, con2_7_Pin, GPIO_PIN_RESET); 	// G
				break;

		}

		// Update the index
		dispIndex2++;
		if (dispIndex2 > 3) dispIndex2 = 0;

    /* USER CODE END WHILE */

  }
}

void SystemClock_Config(void)
{
  RCC_OscInitTypeDef RCC_OscInitStruct = {0};
  RCC_ClkInitTypeDef RCC_ClkInitStruct = {0};

  /** Configure the main internal regulator output voltage
  */
  __HAL_RCC_PWR_CLK_ENABLE();
  __HAL_PWR_VOLTAGESCALING_CONFIG(PWR_REGULATOR_VOLTAGE_SCALE1);
  /** Initializes the CPU, AHB and APB busses clocks
  */
  RCC_OscInitStruct.OscillatorType = RCC_OSCILLATORTYPE_HSI;
  RCC_OscInitStruct.HSIState = RCC_HSI_ON;
  RCC_OscInitStruct.HSICalibrationValue = RCC_HSICALIBRATION_DEFAULT;
  RCC_OscInitStruct.PLL.PLLState = RCC_PLL_NONE;
  if (HAL_RCC_OscConfig(&RCC_OscInitStruct) != HAL_OK)
  {
    Error_Handler();
  }
  /** Initializes the CPU, AHB and APB busses clocks
  */
  RCC_ClkInitStruct.ClockType = RCC_CLOCKTYPE_HCLK|RCC_CLOCKTYPE_SYSCLK
                              |RCC_CLOCKTYPE_PCLK1|RCC_CLOCKTYPE_PCLK2;
  RCC_ClkInitStruct.SYSCLKSource = RCC_SYSCLKSOURCE_HSI;
  RCC_ClkInitStruct.AHBCLKDivider = RCC_SYSCLK_DIV1;
  RCC_ClkInitStruct.APB1CLKDivider = RCC_HCLK_DIV1;
  RCC_ClkInitStruct.APB2CLKDivider = RCC_HCLK_DIV1;

  if (HAL_RCC_ClockConfig(&RCC_ClkInitStruct, FLASH_LATENCY_0) != HAL_OK)
  {
    Error_Handler();
  }
}

static void MX_ADC1_Init(void)
{

  ADC_ChannelConfTypeDef sConfig = {0};

  /** Configure the global features of the ADC (Clock, Resolution, Data Alignment and number of conversion)
  */
  hadc1.Instance = ADC1;
  hadc1.Init.ClockPrescaler = ADC_CLOCK_SYNC_PCLK_DIV4;
  hadc1.Init.Resolution = ADC_RESOLUTION_12B;
  hadc1.Init.ScanConvMode = ENABLE;
  hadc1.Init.ContinuousConvMode = ENABLE;
  hadc1.Init.DiscontinuousConvMode = DISABLE;
  hadc1.Init.ExternalTrigConvEdge = ADC_EXTERNALTRIGCONVEDGE_NONE;
  hadc1.Init.ExternalTrigConv = ADC_SOFTWARE_START;
  hadc1.Init.DataAlign = ADC_DATAALIGN_RIGHT;
  hadc1.Init.NbrOfConversion = 2;
  hadc1.Init.DMAContinuousRequests = ENABLE;
  hadc1.Init.EOCSelection = ADC_EOC_SINGLE_CONV;
  if (HAL_ADC_Init(&hadc1) != HAL_OK)
  {
    Error_Handler();
  }
  /** Configure for the selected ADC regular channel its corresponding rank in the sequencer and its sample time.
  */
  sConfig.Channel = ADC_CHANNEL_0;
  sConfig.Rank = 1;
  sConfig.SamplingTime = ADC_SAMPLETIME_480CYCLES;
  if (HAL_ADC_ConfigChannel(&hadc1, &sConfig) != HAL_OK)
  {
    Error_Handler();
  }
  /** Configure for the selected ADC regular channel its corresponding rank in the sequencer and its sample time.
  */
  sConfig.Channel = ADC_CHANNEL_1;
  sConfig.Rank = 2;
  if (HAL_ADC_ConfigChannel(&hadc1, &sConfig) != HAL_OK)
  {
    Error_Handler();
  }

}

static void MX_UART8_Init(void)
{

  huart8.Instance = UART8;
  huart8.Init.BaudRate = 9600;
  huart8.Init.WordLength = UART_WORDLENGTH_8B;
  huart8.Init.StopBits = UART_STOPBITS_1;
  huart8.Init.Parity = UART_PARITY_NONE;
  huart8.Init.Mode = UART_MODE_TX_RX;
  huart8.Init.HwFlowCtl = UART_HWCONTROL_NONE;
  huart8.Init.OverSampling = UART_OVERSAMPLING_16;
  if (HAL_UART_Init(&huart8) != HAL_OK)
  {
    Error_Handler();
  }

}

static void MX_DMA_Init(void)
{

  /* DMA controller clock enable */
  __HAL_RCC_DMA2_CLK_ENABLE();

  /* DMA interrupt init */
  /* DMA2_Stream0_IRQn interrupt configuration */
  HAL_NVIC_SetPriority(DMA2_Stream0_IRQn, 0, 0);
  HAL_NVIC_EnableIRQ(DMA2_Stream0_IRQn);

}

static void MX_GPIO_Init(void)
{
  GPIO_InitTypeDef GPIO_InitStruct = {0};

  /* GPIO Ports Clock Enable */
  __HAL_RCC_GPIOE_CLK_ENABLE();
  __HAL_RCC_GPIOC_CLK_ENABLE();
  __HAL_RCC_GPIOF_CLK_ENABLE();
  __HAL_RCC_GPIOA_CLK_ENABLE();
  __HAL_RCC_GPIOB_CLK_ENABLE();
  __HAL_RCC_GPIOG_CLK_ENABLE();
  __HAL_RCC_GPIOD_CLK_ENABLE();

  /*Configure GPIO pin Output Level */
  HAL_GPIO_WritePin(GPIOE, d6_Pin|d7_Pin|con3_10_Pin|con3_9_Pin
                          |con5_3_Pin|con5_1_Pin|con5_2_Pin|testPinOut_Pin, GPIO_PIN_RESET);

  /*Configure GPIO pin Output Level */
  HAL_GPIO_WritePin(GPIOF, con4_1_Pin|con4_2_Pin|con3_5_Pin|con3_4_Pin
                          |con3_3_Pin|con3_2_Pin|con3_1_Pin|d2_Pin
                          |d3_Pin|d4_Pin|d5_Pin, GPIO_PIN_RESET);

  /*Configure GPIO pin Output Level */
  HAL_GPIO_WritePin(GPIOC, con2_6_Pin|con2_5_Pin|con2_4_Pin|con2_3_Pin
                          |con2_2_Pin|con2_1_Pin|con4_9_Pin|con4_10_Pin
                          |con4_8_Pin|d8_Pin, GPIO_PIN_RESET);

  /*Configure GPIO pin Output Level */
  HAL_GPIO_WritePin(GPIOA, con1_5_Pin|con1_4_Pin|con1_3_Pin|con4_7_Pin
                          |d9_Pin, GPIO_PIN_RESET);

  /*Configure GPIO pin Output Level */
  HAL_GPIO_WritePin(GPIOB, con1_2_Pin|con1_1_Pin|status_led_Pin|con8_1_Pin
                          |con4_3_Pin|con4_4_Pin|con4_5_Pin|con4_6_Pin, GPIO_PIN_RESET);

  /*Configure GPIO pin Output Level */
  HAL_GPIO_WritePin(GPIOG, con5_9_Pin|con8_3_Pin|con8_2_Pin, GPIO_PIN_RESET);

  /*Configure GPIO pin Output Level */
  HAL_GPIO_WritePin(GPIOD, con2_7_Pin|con2_8_Pin|con2_9_Pin|con2_10_Pin
                          |con8_10_Pin, GPIO_PIN_RESET);

  /*Configure GPIO pins : d6_Pin d7_Pin con3_10_Pin con3_9_Pin
                           con5_3_Pin con5_1_Pin con5_2_Pin testPinOut_Pin */
  GPIO_InitStruct.Pin = d6_Pin|d7_Pin|con3_10_Pin|con3_9_Pin
                          |con5_3_Pin|con5_1_Pin|con5_2_Pin|testPinOut_Pin;
  GPIO_InitStruct.Mode = GPIO_MODE_OUTPUT_PP;
  GPIO_InitStruct.Pull = GPIO_NOPULL;
  GPIO_InitStruct.Speed = GPIO_SPEED_FREQ_LOW;
  HAL_GPIO_Init(GPIOE, &GPIO_InitStruct);

  /*Configure GPIO pins : con4_1_Pin con4_2_Pin con3_5_Pin con3_4_Pin
                           con3_3_Pin con3_2_Pin con3_1_Pin d2_Pin
                           d3_Pin d4_Pin d5_Pin */
  GPIO_InitStruct.Pin = con4_1_Pin|con4_2_Pin|con3_5_Pin|con3_4_Pin
                          |con3_3_Pin|con3_2_Pin|con3_1_Pin|d2_Pin
                          |d3_Pin|d4_Pin|d5_Pin;
  GPIO_InitStruct.Mode = GPIO_MODE_OUTPUT_PP;
  GPIO_InitStruct.Pull = GPIO_NOPULL;
  GPIO_InitStruct.Speed = GPIO_SPEED_FREQ_LOW;
  HAL_GPIO_Init(GPIOF, &GPIO_InitStruct);

  /*Configure GPIO pins : con2_6_Pin con2_5_Pin con2_4_Pin con2_3_Pin
                           con2_2_Pin con2_1_Pin */
  GPIO_InitStruct.Pin = con2_6_Pin|con2_5_Pin|con2_4_Pin|con2_3_Pin
                          |con2_2_Pin|con2_1_Pin;
  GPIO_InitStruct.Mode = GPIO_MODE_OUTPUT_PP;
  GPIO_InitStruct.Pull = GPIO_PULLUP;
  GPIO_InitStruct.Speed = GPIO_SPEED_FREQ_LOW;
  HAL_GPIO_Init(GPIOC, &GPIO_InitStruct);

  /*Configure GPIO pins : con1_5_Pin con1_4_Pin con1_3_Pin con4_7_Pin
                           d9_Pin */
  GPIO_InitStruct.Pin = con1_5_Pin|con1_4_Pin|con1_3_Pin|con4_7_Pin
                          |d9_Pin;
  GPIO_InitStruct.Mode = GPIO_MODE_OUTPUT_PP;
  GPIO_InitStruct.Pull = GPIO_NOPULL;
  GPIO_InitStruct.Speed = GPIO_SPEED_FREQ_LOW;
  HAL_GPIO_Init(GPIOA, &GPIO_InitStruct);

  /*Configure GPIO pins : con1_2_Pin con1_1_Pin status_led_Pin con8_1_Pin
                           con4_3_Pin con4_4_Pin con4_5_Pin con4_6_Pin */
  GPIO_InitStruct.Pin = con1_2_Pin|con1_1_Pin|status_led_Pin|con8_1_Pin
                          |con4_3_Pin|con4_4_Pin|con4_5_Pin|con4_6_Pin;
  GPIO_InitStruct.Mode = GPIO_MODE_OUTPUT_PP;
  GPIO_InitStruct.Pull = GPIO_NOPULL;
  GPIO_InitStruct.Speed = GPIO_SPEED_FREQ_LOW;
  HAL_GPIO_Init(GPIOB, &GPIO_InitStruct);

  /*Configure GPIO pins : con5_9_Pin con8_3_Pin con8_2_Pin */
  GPIO_InitStruct.Pin = con5_9_Pin|con8_3_Pin|con8_2_Pin;
  GPIO_InitStruct.Mode = GPIO_MODE_OUTPUT_PP;
  GPIO_InitStruct.Pull = GPIO_NOPULL;
  GPIO_InitStruct.Speed = GPIO_SPEED_FREQ_LOW;
  HAL_GPIO_Init(GPIOG, &GPIO_InitStruct);

  /*Configure GPIO pins : con2_7_Pin con2_8_Pin */
  GPIO_InitStruct.Pin = con2_7_Pin|con2_8_Pin;
  GPIO_InitStruct.Mode = GPIO_MODE_OUTPUT_PP;
  GPIO_InitStruct.Pull = GPIO_PULLUP;
  GPIO_InitStruct.Speed = GPIO_SPEED_FREQ_LOW;
  HAL_GPIO_Init(GPIOD, &GPIO_InitStruct);

  /*Configure GPIO pins : con2_9_Pin con2_10_Pin con8_10_Pin */
  GPIO_InitStruct.Pin = con2_9_Pin|con2_10_Pin|con8_10_Pin;
  GPIO_InitStruct.Mode = GPIO_MODE_OUTPUT_PP;
  GPIO_InitStruct.Pull = GPIO_NOPULL;
  GPIO_InitStruct.Speed = GPIO_SPEED_FREQ_LOW;
  HAL_GPIO_Init(GPIOD, &GPIO_InitStruct);

  /*Configure GPIO pins : con4_9_Pin con4_10_Pin con4_8_Pin d8_Pin */
  GPIO_InitStruct.Pin = con4_9_Pin|con4_10_Pin|con4_8_Pin|d8_Pin;
  GPIO_InitStruct.Mode = GPIO_MODE_OUTPUT_PP;
  GPIO_InitStruct.Pull = GPIO_NOPULL;
  GPIO_InitStruct.Speed = GPIO_SPEED_FREQ_LOW;
  HAL_GPIO_Init(GPIOC, &GPIO_InitStruct);

  /*Configure GPIO pins : board_type_4_Pin board_type_3_Pin */
  GPIO_InitStruct.Pin = board_type_4_Pin|board_type_3_Pin;
  GPIO_InitStruct.Mode = GPIO_MODE_INPUT;
  GPIO_InitStruct.Pull = GPIO_NOPULL;
  HAL_GPIO_Init(GPIOC, &GPIO_InitStruct);

  /*Configure GPIO pins : board_type_2_Pin board_type_1_Pin board_num_4_Pin board_num_3_Pin
                           board_num_2_Pin board_num_1_Pin */
  GPIO_InitStruct.Pin = board_type_2_Pin|board_type_1_Pin|board_num_4_Pin|board_num_3_Pin
                          |board_num_2_Pin|board_num_1_Pin;
  GPIO_InitStruct.Mode = GPIO_MODE_INPUT;
  GPIO_InitStruct.Pull = GPIO_NOPULL;
  HAL_GPIO_Init(GPIOD, &GPIO_InitStruct);

  /*Configure GPIO pin : testPinIn_Pin */
  GPIO_InitStruct.Pin = testPinIn_Pin;
  GPIO_InitStruct.Mode = GPIO_MODE_IT_RISING;
  GPIO_InitStruct.Pull = GPIO_NOPULL;
  HAL_GPIO_Init(testPinIn_GPIO_Port, &GPIO_InitStruct);

  /* EXTI interrupt init*/
  HAL_NVIC_SetPriority(EXTI0_IRQn, 0, 0);
  HAL_NVIC_EnableIRQ(EXTI0_IRQn);

}

/* USER CODE BEGIN 4 */
void HAL_GPIO_EXTI_Callback(uint16_t GPIO_Pin)
{
	switch (GPIO_Pin)
	{
		case testPinIn_Pin:
			TEST_MODE = 1;
			info_out.board_add  =  100; //this needs to be recognised at the GUI as the test packet
			info_out.state  = 100;
			start_time = HAL_GetTick();
		    //HAL_Delay(10);
			HAL_UART_Transmit(&huart8,&info_out,sizeof(info_out),1000);
			break;

	}
}
/* USER CODE END 4 */

void Error_Handler(void)
{
}

/************************ (C) COPYRIGHT STMicroelectronics *****END OF FILE****/
